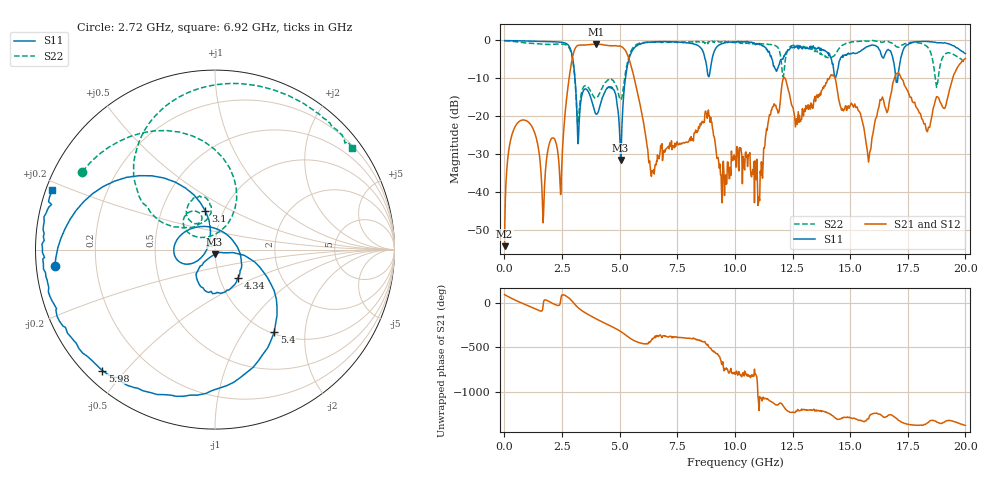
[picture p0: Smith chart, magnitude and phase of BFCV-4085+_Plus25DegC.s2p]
! Mini-Circuits
! S2P DATA File Format
! Type: BAND PASS FILTER
! Model: BFCV-4085+
! All S Parameters are in dB deg format
! TEST CONDITIONS: INPUT POWER = 0 dBm @ Temperature = +25deg C
# MHz S DB R 50
!Frequency  S11 dB  S11 DEG  S21 dB  S21 DEG  S12 dB  S12 DEG  S22 dB  S22 DEG
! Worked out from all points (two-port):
!   769 points, 10 MHz to 20 GHz, reference 50 ohm
!   highest |S21| = -0.97 dB at 3.97 GHz (marker M1); lowest = -54.2 dB at 10 MHz (marker M2)
!   |S21| within 3 dB of the highest: 2.973 GHz to 5.353 GHz (2.38 GHz wide, 57.2 % of centre)
!   lowest |S11| = -31.5 dB at 5.04 GHz (marker M3), VSWR 1.05, Z = 49.7 - j2.65 ohm
!   |S11| at or under -10 dB: 3.063 GHz to 5.25 GHz (2.187 GHz wide, 52.6 % of centre); 16.98264 GHz to 17.06744 GHz (84.8 MHz wide, 0.498 % of centre)
!   |S22| runs from -22.1 to 0.0 dB; largest |S21 - S12| = 0.004
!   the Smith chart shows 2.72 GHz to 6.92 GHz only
!   S11 on the Smith chart (normalised r, x): 2.72 GHz: 0.05, -0.05; 3.1 GHz: 0.82, +0.37; 4.34 GHz: 1.22, -0.40; 5.4 GHz: 1.03, -1.39; 5.98 GHz: 0.05, -0.43; 6.92 GHz: 0.02, +0.18
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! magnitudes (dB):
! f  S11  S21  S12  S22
! 10 MHz  -0.1  -54.2  -54.2  -0.1
! 440 MHz  -0.1  -23.0  -23.0  -0.3
! 1.28 GHz  -0.2  -23.8  -23.8  -0.8
! 1.68 GHz  -0.2  -48.1  -48.1  -1.0
! 2.04 GHz  -0.3  -25.8  -25.8  -1.0
! 2.44 GHz  -0.5  -40.6  -40.6  -0.9
! 2.72 GHz  -0.9  -14.2  -14.2  -1.3
! 3.1 GHz  -13.1  -1.8  -1.8  -13.7
! 3.35 GHz  -14.7  -1.2  -1.2  -13.6
! 3.97 GHz  -19.4  -1.0  -1.0  -15.2
! 4.34 GHz  -13.9  -1.2  -1.2  -11.4
! 5.04 GHz  -31.5  -1.5  -1.5  -15.6
! 5.4 GHz  -4.9  -4.7  -4.7  -4.3
! 5.98 GHz  -0.7  -19.8  -19.8  -0.6
! 6.68 GHz  -0.4  -30.8  -30.8  -0.5
! 6.92 GHz  -0.3  -29.4  -29.4  -0.4
! 10.03 GHz  -0.4  -30.7  -30.7  -0.5
! 11.05 GHz  -0.8  -41.2  -41.0  -0.8
! 12.12 GHz  -4.0  -9.6  -9.6  -8.7
! 13.35 GHz  -1.8  -17.0  -17.0  -2.2
! 16.7 GHz  -2.6  -16.1  -16.1  -0.4
! 20 GHz  -3.5  -4.8  -4.7  -5.5
